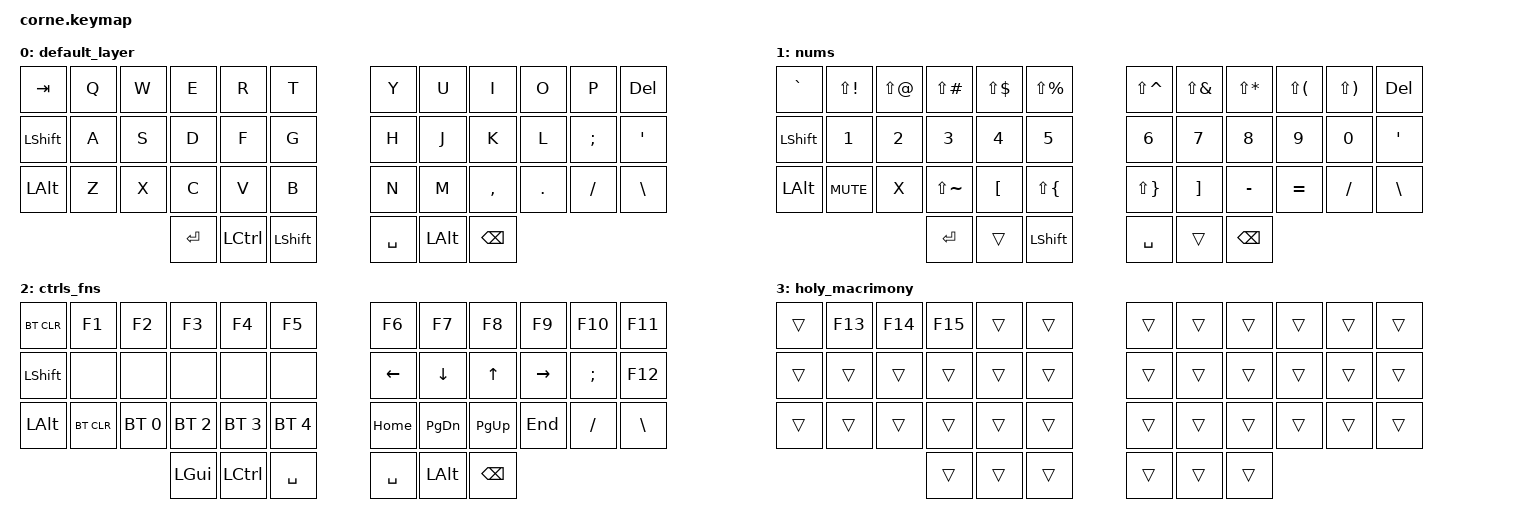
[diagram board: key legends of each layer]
/*
 * Copyright (c) 2020 The ZMK Contributors
 *
 * SPDX-License-Identifier: MIT
 */

#include <behaviors.dtsi>
#include <dt-bindings/zmk/bt.h>
#include <dt-bindings/zmk/keys.h>

/ {
    combos {
        compatible = "zmk,combos";

        backspace_combo {
            bindings = <&kp BACKSPACE>;
            key-positions = <19 20>;
            layers = <0>;
        };

        bigbackspace_combo {
            bindings = <&kp LC(BACKSPACE)>;
            key-positions = <19 20 21>;
            layers = <0>;
        };

        escape_combo {
            bindings = <&kp ESCAPE>;
            key-positions = <31 32>;
            layers = <0>;
        };

        ctrl_fn_combo {
            bindings = <&sl 2>;
            key-positions = <15 16>;
            layers = <0>;
        };

        numsym_combo {
            bindings = <&sl 1>;
            key-positions = <37 40>;
            layers = <0>;
        };

        macro_combo {
            bindings = <&sl 3>;
            key-positions = <27 28>;
            layers = <0>;
        };
    };

    keymap {
        compatible = "zmk,keymap";

        default_layer {
            // -----------------------------------------------------------------------------------------
            // |  TAB |  Q  |  W  |  E  |  R  |  T  |   |  Y  |  U   |  I  |  O  |  P  | BKSP |
            // | CTRL |  A  |  S  |  D  |  F  |  G  |   |  H  |  J   |  K  |  L  |  ;  |  '   |
            // | SHFT |  Z  |  X  |  C  |  V  |  B  |   |  N  |  M   |  ,  |  .  |  /  | ESC  |
            //                    | GUI | LWR | SPC |   | ENT | RSE  | ALT |

            bindings = <
&kp TAB         &kp Q  &kp W  &kp E      &kp R      &kp T        &kp Y      &kp U         &kp I          &kp O    &kp P     &kp DELETE
&kp LEFT_SHIFT  &kp A  &kp S  &kp D      &kp F      &kp G        &kp H      &kp J         &kp K          &kp L    &kp SEMI  &kp SQT
&kp LEFT_ALT    &kp Z  &kp X  &kp C      &kp V      &kp B        &kp N      &kp M         &kp COMMA      &kp DOT  &kp FSLH  &kp BACKSLASH
                              &kp ENTER  &kp LCTRL  &kp LSHFT    &kp SPACE  &kp LEFT_ALT  &kp BACKSPACE
            >;
        };

        nums {
            // -----------------------------------------------------------------------------------------
            // |  TAB |  1  |  2  |  3  |  4  |  5  |   |  6  |  7  |  8  |  9  |  0  | BKSP |
            // | BTCLR| BT1 | BT2 | BT3 | BT4 | BT5 |   | LFT | DWN |  UP | RGT |     |      |
            // | SHFT |     |     |     |     |     |   |     |     |     |     |     |      |
            //                    | GUI |     | SPC |   | ENT |     | ALT |

            bindings = <
&kp GRAVE  &kp LS(EXCL)  &kp LS(AT)  &kp LS(POUND)  &kp LS(DLLR)  &kp LS(PRCNT)         &kp LS(CARET)  &kp LS(AMPS)       &kp LS(STAR)   &kp LS(LPAR)  &kp LS(RPAR)  &kp DEL
&kp LSHFT  &kp N1        &kp N2      &kp N3         &kp N4        &kp N5                &kp N6         &kp N7             &kp N8         &kp N9        &kp N0        &kp SQT
&kp LALT   &kp K_MUTE    &kp X       &kp LS(TILDE)  &kp LBKT      &kp LS(LEFT_BRACE)    &kp LS(RBRC)   &kp RIGHT_BRACKET  &kp MINUS      &kp EQUAL     &kp FSLH      &kp BSLH
                                     &kp ENTER      &trans        &kp LEFT_SHIFT        &kp SPACE      &trans             &kp BACKSPACE
            >;
        };

        ctrls_fns {
            // -----------------------------------------------------------------------------------------
            // |  TAB |  !  |  @  |  #  |  $  |  %  |   |  ^  |  &  |  *  |  (  |  )  | BKSP |
            // | CTRL |     |     |     |     |     |   |  -  |  =  |  [  |  ]  |  \  |  `   |
            // | SHFT |     |     |     |     |     |   |  _  |  +  |  {  |  }  | "|" |  ~   |
            //                    | GUI |     | SPC |   | ENT |     | ALT |

            bindings = <
&bt BT_CLR      &kp F1      &kp F2        &kp F3        &kp F4        &kp F5          &kp F6     &kp F7        &kp F8         &kp F9     &kp F10   &kp F11
&kp LEFT_SHIFT  &none       &none         &none         &none         &none           &kp LEFT   &kp DOWN      &kp UP         &kp RIGHT  &kp SEMI  &kp F12
&kp LEFT_ALT    &bt BT_CLR  &bt BT_SEL 0  &bt BT_SEL 2  &bt BT_SEL 3  &bt BT_SEL 4    &kp HOME   &kp PG_DN     &kp PG_UP      &kp END    &kp FSLH  &kp BSLH
                                          &kp LGUI      &kp LCTRL     &kp SPACE       &kp SPACE  &kp LEFT_ALT  &kp BACKSPACE
            >;
        };

        holy_macrimony {
            bindings = <
&trans  &kp F13  &kp F14  &kp F15  &trans  &trans    &trans  &trans  &trans  &trans  &trans  &trans
&trans  &trans   &trans   &trans   &trans  &trans    &trans  &trans  &trans  &trans  &trans  &trans
&trans  &trans   &trans   &trans   &trans  &trans    &trans  &trans  &trans  &trans  &trans  &trans
                          &trans   &trans  &trans    &trans  &trans  &trans
            >;
        };
    };
};
